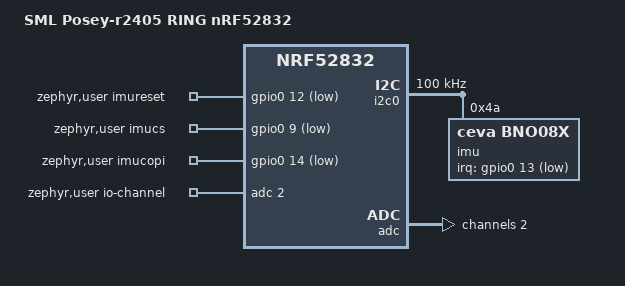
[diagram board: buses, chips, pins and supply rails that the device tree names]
/dts-v1/;
#include <nordic/nrf52832_ciaa.dtsi>
#include "sml_poseyr2405_nrf52832-pinctrl.dtsi"

/ {
	model = "SML Posey-r2405 RING nRF52832";
	compatible = "sml,sml-poseyr2405-nrf52832";

	chosen {
		zephyr,sram = &sram0;
		zephyr,flash = &flash0;
		zephyr,code-partition = &slot0_partition;
	};

	zephyr,user {
		io-channels = <&adc 2>;
		imureset-gpios = <&gpio0 12 (GPIO_PULL_UP | GPIO_ACTIVE_LOW)>;
		imucs-gpios = <&gpio0 9 (GPIO_PULL_DOWN | GPIO_ACTIVE_LOW)>;
		imucopi-gpios = <&gpio0 14 (GPIO_PULL_DOWN | GPIO_ACTIVE_LOW)>;
	};
};

&uicr {
	gpio-as-nreset;
	nfct-pins-as-gpios;
};

&gpiote {
	status = "okay";
};

// Label needed for BNO08x driver config. Might need to trace
// exactly why...
&gpio0 {
	status = "okay";
	label = "gpio0";
};

&i2c0 {
	compatible = "nordic,nrf-twi";
	status = "okay";
	pinctrl-0 = <&i2c0_default>;
	pinctrl-1 = <&i2c0_sleep>;
	pinctrl-names = "default", "sleep";
	clock-frequency = <I2C_BITRATE_STANDARD>;

	bno08x0: bno08x@4a {
		compatible = "ceva,bno08x";
		label = "imu";
		reg = <0x4a>;
		irq-gpios = <&gpio0 13 (GPIO_ACTIVE_LOW | GPIO_PULL_UP)>;
	};
};

&spi1 {
	compatible = "nordic,nrf-spi";

	status = "disabled";
	pinctrl-0 = <&posey_spi1_default>;
	pinctrl-1 = <&posey_spi1_sleep>;
	pinctrl-names = "default", "sleep";

	// anomaly-58-workaround;
	// cs-gpios = <&gpio0 19 GPIO_ACTIVE_LOW>;
	// bno086: bno08x@0 {
		//     compatible = "ceva,bno08x";
		//     reg = <0>;
		//     spi-max-frequency = <DT_FREQ_M(3)>;
		//     int-gpios = <&gpio0 13 GPIO_ACTIVE_LOW>;
		//     reset-gpios = <&gpio0 12 GPIO_ACTIVE_LOW>;
		//     ps0-gpios = <&gpio0 9 GPIO_ACTIVE_HIGH>;
		//     ps1-gpios = <&gpio0 10 GPIO_ACTIVE_HIGH>;
		//     spi-cpol;
		//     spi-cpha;
	// };
};

&adc {
	status = "okay";
	#address-cells = <1>;
	#size-cells = <0>;

	channel@2 {
		reg = <2>;
		zephyr,gain = "ADC_GAIN_1_6";
		zephyr,reference = "ADC_REF_INTERNAL";
		zephyr,acquisition-time = <ADC_ACQ_TIME_DEFAULT>;
		zephyr,input-positive = <NRF_SAADC_AIN2>;
		zephyr,resolution = <12>;
	};
};

&flash0 {
	partitions {
		compatible = "fixed-partitions";
		#address-cells = <1>;
		#size-cells = <1>;

		boot_partition: partition@0 {
			label = "mcuboot";
			reg = <0x0 0xc000>;
		};
		slot0_partition: partition@c000 {
			label = "image-0";
			reg = <0xc000 0x32000>;
		};
		slot1_partition: partition@3e000 {
			label = "image-1";
			reg = <0x3e000 0x32000>;
		};
		scratch_partition: partition@70000 {
			label = "image-scratch";
			reg = <0x70000 0xa000>;
		};
		storage_partition: partition@7a000 {
			label = "storage";
			reg = <0x7a000 0x6000>;
		};
	};
};
